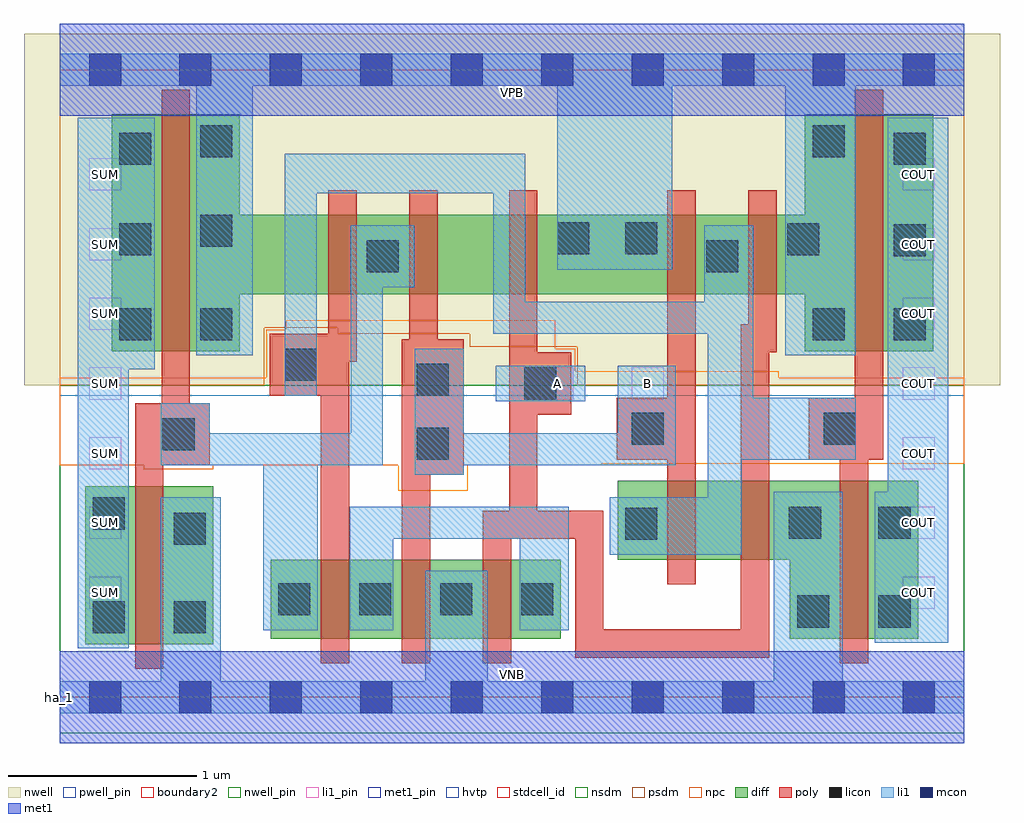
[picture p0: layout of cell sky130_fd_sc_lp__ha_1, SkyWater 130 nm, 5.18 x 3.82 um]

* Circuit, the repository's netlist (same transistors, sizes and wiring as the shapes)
* Copyright 2020 The SkyWater PDK Authors
*
* Licensed under the Apache License, Version 2.0 (the "License");
* you may not use this file except in compliance with the License.
* You may obtain a copy of the License at
*
*     https://www.apache.org/licenses/LICENSE-2.0
*
* Unless required by applicable law or agreed to in writing, software
* distributed under the License is distributed on an "AS IS" BASIS,
* WITHOUT WARRANTIES OR CONDITIONS OF ANY KIND, either express or implied.
* See the License for the specific language governing permissions and
* limitations under the License.
*
* SPDX-License-Identifier: Apache-2.0

.SUBCKT sky130_fd_sc_lp__ha_1 A B VGND VNB VPB VPWR COUT SUM
*.PININFO A:I B:I VGND:I VNB:I VPB:I VPWR:I COUT:O SUM:O
MMIN2 COUT majb VGND VNB sky130_fd_pr__nfet_01v8 m=1 w=0.84U l=0.15U mult=1 sa=0.265
+ sb=0.265 sd=0.28 area=0.063 perim=1.14
MMIN3 SUM sumb VGND VNB sky130_fd_pr__nfet_01v8 m=1 w=0.84U l=0.15U mult=1 sa=0.265
+ sb=0.265 sd=0.28 area=0.063 perim=1.14
MMNnand0 VGND A sndNA VNB sky130_fd_pr__nfet_01v8 m=1 w=0.42U l=0.15U mult=1 sa=0.265
+ sb=0.265 sd=0.28 area=0.063 perim=1.14
MMNnand1 sndNA B majb VNB sky130_fd_pr__nfet_01v8 m=1 w=0.42U l=0.15U mult=1 sa=0.265
+ sb=0.265 sd=0.28 area=0.063 perim=1.14
MMNs1 sumb majb nint1 VNB sky130_fd_pr__nfet_01v8 m=1 w=0.42U l=0.15U mult=1 sa=0.265
+ sb=0.265 sd=0.28 area=0.063 perim=1.14
MMNs20 VGND A nint1 VNB sky130_fd_pr__nfet_01v8 m=1 w=0.42U l=0.15U mult=1 sa=0.265
+ sb=0.265 sd=0.28 area=0.063 perim=1.14
MMNs21 VGND B nint1 VNB sky130_fd_pr__nfet_01v8 m=1 w=0.42U l=0.15U mult=1 sa=0.265
+ sb=0.265 sd=0.28 area=0.063 perim=1.14
MMIP2 COUT majb VPWR VPB sky130_fd_pr__pfet_01v8_hvt m=1 w=1.26U l=0.15U mult=1
+ sa=0.265 sb=0.265 sd=0.28 area=0.063 perim=1.14
MMIP3 SUM sumb VPWR VPB sky130_fd_pr__pfet_01v8_hvt m=1 w=1.26U l=0.15U mult=1
+ sa=0.265 sb=0.265 sd=0.28 area=0.063 perim=1.14
MMPnand0 majb A VPWR VPB sky130_fd_pr__pfet_01v8_hvt m=1 w=0.42U l=0.15U mult=1
+ sa=0.265 sb=0.265 sd=0.28 area=0.063 perim=1.14
MMPnand1 majb B VPWR VPB sky130_fd_pr__pfet_01v8_hvt m=1 w=0.42U l=0.15U mult=1
+ sa=0.265 sb=0.265 sd=0.28 area=0.063 perim=1.14
MMPs1 VPWR majb sumb VPB sky130_fd_pr__pfet_01v8_hvt m=1 w=0.42U l=0.15U mult=1
+ sa=0.265 sb=0.265 sd=0.28 area=0.063 perim=1.14
MMPs20 VPWR A sndPA VPB sky130_fd_pr__pfet_01v8_hvt m=1 w=0.42U l=0.15U mult=1
+ sa=0.265 sb=0.265 sd=0.28 area=0.063 perim=1.14
MMPs21 sndPA B sumb VPB sky130_fd_pr__pfet_01v8_hvt m=1 w=0.42U l=0.15U mult=1
+ sa=0.265 sb=0.265 sd=0.28 area=0.063 perim=1.14
.ENDS sky130_fd_sc_lp__ha_1

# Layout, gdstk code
import gdstk
lib = gdstk.Library(unit=1e-6, precision=1e-09)
def R(c, l, rs):  # rectangles x0, y0, x1, y1
    for r in rs: c.add(gdstk.rectangle(r[:2], r[2:], *l))
def A(c, l, x, y, w, h, nx, ny, dx, dy):  # array of equal rectangles
    R(c, l, [(x+i*dx, y+j*dy, x+i*dx+w, y+j*dy+h) for i in range(nx) for j in range(ny)])
def P(c, l, *ps):  # polygons
    for p in ps: c.add(gdstk.Polygon(p, *l))
nwell_pin = (64, 16)
nwell = (64, 20)
diff = (65, 20)
poly = (66, 20)
licon = (66, 44)
li1_pin = (67, 16)
li1 = (67, 20)
mcon = (67, 44)
met1_pin = (68, 16)
met1 = (68, 20)
hvtp = (78, 44)
stdcell_id = (81, 4)
nsdm = (93, 44)
psdm = (94, 20)
npc = (95, 20)
pwell_pin = (122, 16)
boundary2 = (236, 0)

sky130_fd_sc_lp__ha_1 = lib.new_cell('sky130_fd_sc_lp__ha_1')
R(sky130_fd_sc_lp__ha_1, nwell_pin, [(0,3.085,4.8,3.33)])
R(sky130_fd_sc_lp__ha_1, nwell, [(-0.19,1.655,4.99,3.52)])
R(sky130_fd_sc_lp__ha_1, diff, [(0.135,0.28,0.815,1.12), (1.12,0.31,2.66,0.73)])
P(sky130_fd_sc_lp__ha_1, diff, [(4.555,1.15),(2.96,1.15),(2.96,0.73),(3.875,0.73),(3.875,0.31),(4.555,0.31)],
  [(4.635,3.095),(3.955,3.095),(3.955,2.56),(0.955,2.56),(0.955,3.095),(0.275,3.095),(0.275,1.835),(0.955,1.835),(0.955,2.14),(3.955,2.14),(3.955,1.835),(4.635,1.835)])
P(sky130_fd_sc_lp__ha_1, poly, [(0.795,1.56),(0.69,1.56),(0.69,3.225),(0.54,3.225),(0.54,1.56),(0.4,1.56),(0.4,0.15),(0.55,0.15),(0.55,1.23),(0.795,1.23)],
  [(1.575,2.69),(1.425,2.69),(1.425,1.93),(1.115,1.93),(1.115,1.6),(1.385,1.6),(1.385,0.18),(1.535,0.18),(1.535,1.78),(1.575,1.78)],
  [(2.145,1.9),(2.005,1.9),(2.005,2.69),(1.855,2.69),(1.855,1.9),(1.815,1.9),(1.815,0.18),(1.965,0.18),(1.965,1.18),(2.145,1.18)],
  [(3.375,2.69),(3.225,2.69),(3.225,1.59),(2.955,1.59),(2.955,1.26),(3.225,1.26),(3.225,0.6),(3.375,0.6)],
  [(3.805,2.69),(3.655,2.69),(3.655,1.98),(3.615,1.98),(3.615,0.36),(2.885,0.36),(2.885,0.99),(2.535,0.99),(2.535,1.5),(2.715,1.5),(2.715,1.83),(2.535,1.83),(2.535,2.69),(2.385,2.69),(2.385,0.99),(2.245,0.99),(2.245,0.18),(2.395,0.18),(2.395,0.84),(2.735,0.84),(2.735,0.21),(3.765,0.21),(3.765,1.83),(3.805,1.83)],
  [(4.37,3.225),(4.22,3.225),(4.22,1.59),(3.975,1.59),(3.975,1.26),(4.14,1.26),(4.14,0.18),(4.29,0.18),(4.29,1.26),(4.37,1.26)])
A(sky130_fd_sc_lp__ha_1, licon, 1.16, 0.435, 0.17, 0.17, 4, 1, 0.43, 0)
R(sky130_fd_sc_lp__ha_1, licon, [(0.175,0.34,0.345,0.51), (0.605,0.34,0.775,0.51), (3.915,0.37,4.085,0.54), (4.345,0.37,4.515,0.54), (0.605,0.81,0.775,0.98), (3,0.835,3.17,1.005), (3.87,0.84,4.04,1.01), (4.345,0.84,4.515,1.01), (0.175,0.89,0.345,1.06), (1.895,1.26,2.065,1.43), (0.545,1.31,0.715,1.48), (3.035,1.34,3.205,1.51), (4.055,1.34,4.225,1.51), (2.465,1.58,2.635,1.75), (1.895,1.6,2.065,1.77), (1.195,1.68,1.365,1.85), (0.315,1.895,0.485,2.065), (0.745,1.895,0.915,2.065), (3.995,1.895,4.165,2.065), (4.425,1.895,4.595,2.065), (1.63,2.255,1.8,2.425), (3.43,2.255,3.6,2.425), (4.425,2.34,4.595,2.51), (0.315,2.345,0.485,2.515), (3.86,2.345,4.03,2.515), (2.64,2.35,2.81,2.52), (3,2.35,3.17,2.52), (0.745,2.39,0.915,2.56), (0.315,2.825,0.485,2.995), (4.425,2.825,4.595,2.995), (0.745,2.865,0.915,3.035), (3.995,2.865,4.165,3.035)])
A(sky130_fd_sc_lp__ha_1, li1_pin, 0.155, 0.47, 0.17, 0.17, 1, 7, 0, 0.37)
A(sky130_fd_sc_lp__ha_1, li1_pin, 4.475, 0.47, 0.17, 0.17, 1, 7, 0, 0.37)
R(sky130_fd_sc_lp__ha_1, li1_pin, [(2.555,1.58,2.725,1.75), (3.035,1.58,3.205,1.75)])
R(sky130_fd_sc_lp__ha_1, li1, [(2.315,1.57,2.79,1.76)])
P(sky130_fd_sc_lp__ha_1, li1, [(3.85,1.815),(3.85,3.245),(3.25,3.245),(3.25,2.27),(2.64,2.27),(2.64,3.245),(1.025,3.245),(1.025,1.815),(0.725,1.815),(0.725,3.245),(0,3.245),(0,3.415),(4.8,3.415),(4.8,3.245),(4.225,3.245),(4.225,1.815)],
  [(1.94,0.085),(1.94,0.67),(2.27,0.67),(2.27,0.085),(3.79,0.085),(3.79,1.09),(4.155,1.09),(4.155,0.085),(4.8,0.085),(4.8,-0.085),(0,-0.085),(0,0.085),(0.535,0.085),(0.535,1.06),(0.855,1.06),(0.855,0.085)],
  [(2.92,0.755),(2.92,1.06),(3.44,1.06),(3.44,1.93),(2.3,1.93),(2.3,2.675),(1.365,2.675),(1.365,1.6),(1.195,1.6),(1.195,2.885),(2.47,2.885),(2.47,2.1),(3.42,2.1),(3.42,2.505),(3.68,2.505),(3.68,1.59),(4.225,1.59),(4.225,1.26),(3.62,1.26),(3.62,0.755)],
  [(4.325,0.29),(4.325,1.09),(4.395,1.09),(4.395,3.075),(4.715,3.075),(4.715,0.29)],
  [(0.095,3.075),(0.505,3.075),(0.505,1.74),(0.365,1.74),(0.365,0.26),(0.095,0.26)],
  [(2.44,0.84),(1.77,0.84),(1.77,0.355),(1.54,0.355),(1.54,1.01),(2.7,1.01),(2.7,0.355),(2.44,0.355)],
  [(1.08,1.23),(0.535,1.23),(0.535,1.56),(0.795,1.56),(0.795,1.4),(1.545,1.4),(1.545,2.505),(1.88,2.505),(1.88,2.175),(1.715,2.175),(1.715,1.23),(1.37,1.23),(1.37,0.355),(1.08,0.355)],
  [(3.27,1.76),(2.96,1.76),(2.96,1.4),(2.145,1.4),(2.145,1.85),(1.885,1.85),(1.885,1.18),(2.145,1.18),(2.145,1.23),(3.27,1.23)])
A(sky130_fd_sc_lp__ha_1, mcon, 0.155, -0.085, 0.17, 0.17, 10, 2, 0.48, 3.33)
R(sky130_fd_sc_lp__ha_1, met1_pin, [(0,0,4.8,0.245), (0,3.085,4.8,3.33)])
R(sky130_fd_sc_lp__ha_1, met1, [(0,-0.245,4.8,0.245), (0,3.085,4.8,3.575)])
R(sky130_fd_sc_lp__ha_1, hvtp, [(0,1.6,4.8,3.33)])
R(sky130_fd_sc_lp__ha_1, stdcell_id, [(0,0,4.8,3.33)])
R(sky130_fd_sc_lp__ha_1, nsdm, [(0,-0.19,4.8,1.655)])
P(sky130_fd_sc_lp__ha_1, psdm, [(4.8,3.52),(0,3.52),(0,1.655),(1.085,1.655),(1.085,1.96),(1.475,1.96),(1.475,1.93),(2.175,1.93),(2.175,1.86),(2.745,1.86),(2.745,1.655),(4.8,1.655)])
P(sky130_fd_sc_lp__ha_1, npc, [(4.8,1.695),(3.815,1.695),(3.815,1.73),(2.735,1.73),(2.735,1.85),(2.63,1.85),(2.63,2),(1.2,2),(1.2,1.95),(1.095,1.95),(1.095,1.695),(0,1.695),(0,1.23),(0.445,1.23),(0.445,1.21),(0.815,1.21),(0.815,1.23),(1.795,1.23),(1.795,1.095),(2.165,1.095),(2.165,1.23),(2.87,1.23),(2.87,1.24),(4.8,1.24)])
R(sky130_fd_sc_lp__ha_1, pwell_pin, [(0,0,4.8,0.245)])
R(sky130_fd_sc_lp__ha_1, boundary2, [(0,0,4.8,3.33)])
sky130_fd_sc_lp__ha_1.add(gdstk.Label('VNB', (2.4,0.123), layer=64, texttype=59))
sky130_fd_sc_lp__ha_1.add(gdstk.Label('VPB', (2.4,3.208), layer=64, texttype=5))
sky130_fd_sc_lp__ha_1.add(gdstk.Label('ha_1', (0,0), layer=83, texttype=44))
sky130_fd_sc_lp__ha_1.add(gdstk.Label('VPWR', (2.4,3.208), layer=68, texttype=5))
sky130_fd_sc_lp__ha_1.add(gdstk.Label('VGND', (2.4,0.123), layer=68, texttype=5))
sky130_fd_sc_lp__ha_1.add(gdstk.Label('COUT', (4.56,0.555), layer=67, texttype=5))
sky130_fd_sc_lp__ha_1.add(gdstk.Label('COUT', (4.56,0.925), layer=67, texttype=5))
sky130_fd_sc_lp__ha_1.add(gdstk.Label('COUT', (4.56,1.295), layer=67, texttype=5))
sky130_fd_sc_lp__ha_1.add(gdstk.Label('COUT', (4.56,1.665), layer=67, texttype=5))
sky130_fd_sc_lp__ha_1.add(gdstk.Label('COUT', (4.56,2.035), layer=67, texttype=5))
sky130_fd_sc_lp__ha_1.add(gdstk.Label('COUT', (4.56,2.405), layer=67, texttype=5))
sky130_fd_sc_lp__ha_1.add(gdstk.Label('COUT', (4.56,2.775), layer=67, texttype=5))
sky130_fd_sc_lp__ha_1.add(gdstk.Label('SUM', (0.24,0.555), layer=67, texttype=5))
sky130_fd_sc_lp__ha_1.add(gdstk.Label('SUM', (0.24,0.925), layer=67, texttype=5))
sky130_fd_sc_lp__ha_1.add(gdstk.Label('SUM', (0.24,1.295), layer=67, texttype=5))
sky130_fd_sc_lp__ha_1.add(gdstk.Label('SUM', (0.24,1.665), layer=67, texttype=5))
sky130_fd_sc_lp__ha_1.add(gdstk.Label('SUM', (0.24,2.035), layer=67, texttype=5))
sky130_fd_sc_lp__ha_1.add(gdstk.Label('SUM', (0.24,2.405), layer=67, texttype=5))
sky130_fd_sc_lp__ha_1.add(gdstk.Label('SUM', (0.24,2.775), layer=67, texttype=5))
sky130_fd_sc_lp__ha_1.add(gdstk.Label('A', (2.64,1.665), layer=67, texttype=5))
sky130_fd_sc_lp__ha_1.add(gdstk.Label('B', (3.12,1.665), layer=67, texttype=5))

lib.write_gds('sky130_fd_sc_lp__ha_1.gds')
